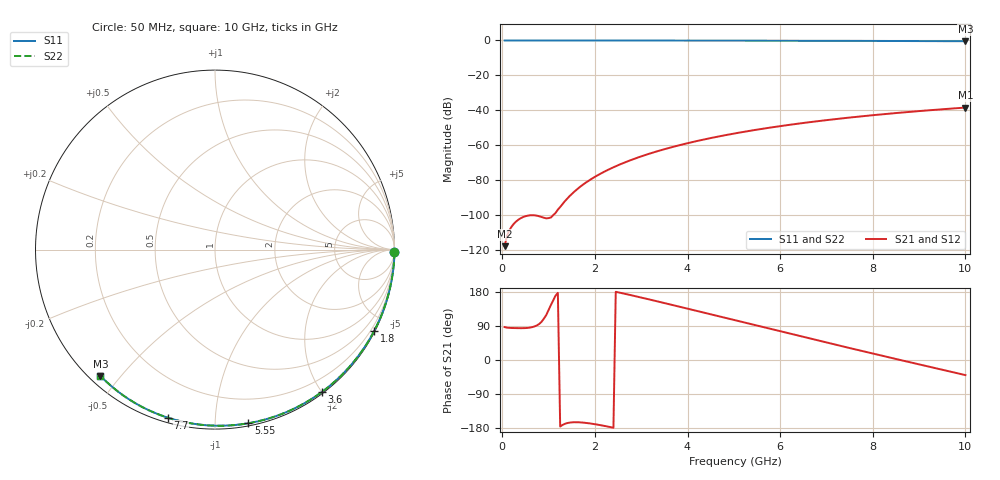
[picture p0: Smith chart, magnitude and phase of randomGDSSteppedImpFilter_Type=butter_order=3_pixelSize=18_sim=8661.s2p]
! freq	dB(S11)	phase(S11)	dB(S12)	phase(S12)
!  dB(S21)	phase(S21)	dB(S22)	phase(S22)
!S-par simulation data
#  GHz  S  DB  R 50
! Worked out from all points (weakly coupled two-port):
!   200 points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, 50 MHz to 10 GHz, reference 50 ohm
!   highest |S21| = -38.37 dB at 10 GHz (marker M1); lowest = -117.6 dB at 50 MHz (marker M2)
!   lowest |S11| = -0.4 dB at 10 GHz (marker M3), VSWR 38.95, Z = 1.54 - j22.1 ohm
!   |S11| at or under -10 dB: nowhere
!   |S22| runs from -0.4 to 0.0 dB; largest |S21 - S12| = 0
!   S11 on the Smith chart (normalised r, x): 50 MHz: open; 1.8 GHz: 0.04, -4.15; 3.6 GHz: 0.02, -2.01; 5.55 GHz: 0.02, -1.21; 7.7 GHz: 0.02, -0.76; 10 GHz: 0.03, -0.44
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0.05  -0.00 -0.8  -117.58 86.8  -117.58 86.8  -0.00 -0.8
0.9  -0.02 -13.7  -101.36 109.4  -101.36 109.4  -0.02 -13.7
1.75  -0.03 -26.4  -82.26 -165.2  -82.26 -165.2  -0.03 -26.4
1.8  -0.03 -27.1  -81.32 -165.9  -81.32 -165.9  -0.03 -27.1
1.85  -0.04 -27.8  -80.43 -166.6  -80.43 -166.6  -0.04 -27.8
1.9  -0.04 -28.6  -79.57 -167.5  -79.57 -167.5  -0.04 -28.6
2.05  -0.04 -30.8  -77.18 -170.4  -77.18 -170.4  -0.04 -30.8
2.25  -0.04 -33.7  -74.37 -175.0  -74.37 -175.0  -0.04 -33.7
2.45  -0.05 -36.6  -71.89 180.0  -71.89 180.0  -0.05 -36.6
2.65  -0.05 -39.5  -69.66 174.6  -69.66 174.6  -0.05 -39.5
3  -0.06 -44.5  -66.25 164.8  -66.25 164.8  -0.06 -44.5
3.4  -0.07 -50.2  -62.91 153.2  -62.91 153.2  -0.07 -50.2
3.6  -0.07 -53.0  -61.42 147.4  -61.42 147.4  -0.07 -53.0
4.3  -0.09 -62.6  -56.91 126.5  -56.91 126.5  -0.09 -62.6
5.05  -0.11 -72.6  -52.99 104.0  -52.99 104.0  -0.11 -72.6
5.55  -0.13 -79.1  -50.76 89.1  -50.76 89.1  -0.13 -79.1
6.1  -0.15 -86.1  -48.59 72.7  -48.59 72.7  -0.15 -86.1
6.7  -0.18 -93.6  -46.49 55.0  -46.49 55.0  -0.18 -93.6
7.7  -0.24 -105.7  -43.51 25.7  -43.51 25.7  -0.24 -105.7
8.35  -0.29 -113.3  -41.85 7.0  -41.85 7.0  -0.29 -113.3
9.15  -0.36 -122.5  -40.04 -15.8  -40.04 -15.8  -0.36 -122.5
10  -0.45 -132.2  -38.37 -39.8  -38.37 -39.8  -0.45 -132.2
